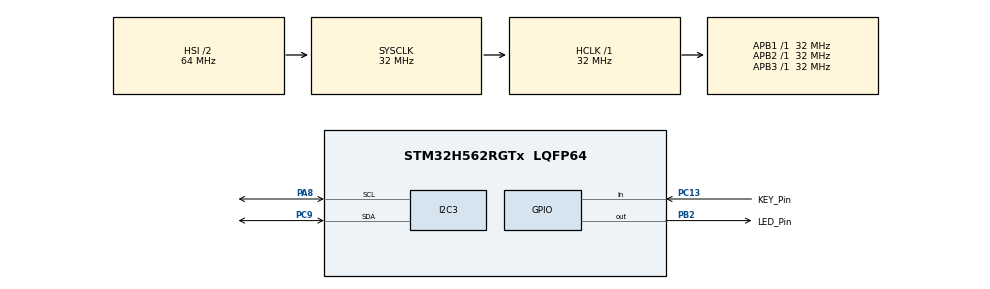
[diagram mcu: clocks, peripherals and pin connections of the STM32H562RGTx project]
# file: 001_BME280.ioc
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BOOTPATH.BootPathName=LEGACY
BOOTPATH.UserSelectedBootPath=LEGACY
CORTEX_M33_NS.userName=CORTEX_M33
I2C3.Timing=0x00707CBB
Mcu.Family=STM32H5
Mcu.Name=STM32H562RGTx
Mcu.Package=LQFP64
NVIC.I2C3_ER_IRQn=true\:0\:0\:false\:false\:true\:true\:true\:true
NVIC.I2C3_EV_IRQn=true\:0\:0\:false\:false\:true\:true\:true\:true
NVIC.PriorityGroup=NVIC_PRIORITYGROUP_4
PA8.Mode=I2C
PA8.Signal=I2C3_SCL
PB2.GPIO_Label=LED_Pin
PB2.Signal=GPIO_Output
PC13.GPIO_Label=KEY_Pin
PC13.Signal=GPIO_Input
PC8.GPIO_Label=SD_DETECT_Pin
PC8.Signal=SDMMC1_D0
PC9.Mode=I2C
PC9.Signal=I2C3_SDA
ProjectManager.HeapSize=0x200
ProjectManager.StackSize=0x400
ProjectManager.TargetToolchain=STM32CubeIDE
RCC.ADCFreq_Value=32000000
RCC.AHBFreq_Value=32000000
RCC.APB1Freq_Value=32000000
RCC.APB1TimFreq_Value=32000000
RCC.APB2Freq_Value=32000000
RCC.APB2TimFreq_Value=32000000
RCC.APB3Freq_Value=32000000
RCC.CSI_VALUE=4000000
RCC.CortexFreq_Value=32000000
RCC.EPOD_VALUE=4000000
RCC.HCLKFreq_Value=32000000
RCC.HSE_VALUE=25000000
RCC.HSI48_VALUE=48000000
RCC.HSI_VALUE=64000000
RCC.LSE_VALUE=32768
RCC.LSIRC_VALUE=32000
RCC.SYSCLKFreq_VALUE=32000000
RCC.USBFreq_Value=48000000
RCC.VCOOutputFreq_Value=516000000
TIM6.Prescaler=31
VP_BOOTPATH_VS_BOOTPATH.Mode=BP_Activate
VP_CORTEX_M33_NS_VS_Hclk.Mode=Hclk_Mode
VP_ICACHE_VS_ICACHE.Mode=DirectMappedCache
VP_MEMORYMAP_VS_MEMORYMAP.Mode=CurAppReg
VP_PWR_VS_LPOM.Mode=PowerOptimisation
VP_PWR_VS_SECSignals.Mode=Security/Privilege
VP_TIM6_VS_ClockSourceINT.Mode=Enable_Timer
board=custom

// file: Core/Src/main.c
/* USER CODE BEGIN Header */
/**
  ******************************************************************************
  * @file           : main.c
  * @brief          : Main program body
  ******************************************************************************
  * @attention
  *
  * Copyright (c) 2025 STMicroelectronics.
  * All rights reserved.
  *
  * This software is licensed under terms that can be found in the LICENSE file
  * in the root directory of this software component.
  * If no LICENSE file comes with this software, it is provided AS-IS.
  *
  ******************************************************************************
  */
/* USER CODE END Header */
#include "main.h"

/* USER CODE BEGIN Includes */
#include "bme280.h"
#include <stdio.h>
#include "bme280_stm32.h"
#include "lcd.h"
/* USER CODE END Includes */

I2C_HandleTypeDef hi2c3;

TIM_HandleTypeDef htim6;

/* USER CODE BEGIN PV */
LCD_HandleTypeDef hlcd;
HAL_StatusTypeDef status;
/* USER CODE END PV */

void SystemClock_Config(void);
static void MX_GPIO_Init(void);
static void MX_I2C3_Init(void);
static void MX_ICACHE_Init(void);
static void MX_TIM6_Init(void);

/* USER CODE BEGIN 0 */
struct bme280_dev dev;
struct bme280_data comp_data;
/* USER CODE END 0 */

int main(void)
{

  /* MCU Configuration--------------------------------------------------------*/

  /* Reset of all peripherals, Initializes the Flash interface and the Systick. */
  HAL_Init();

  /* Configure the system clock */
  SystemClock_Config();

  /* Initialize all configured peripherals */
  MX_GPIO_Init();
  MX_I2C3_Init();
  MX_ICACHE_Init();
  MX_TIM6_Init();
  /* USER CODE BEGIN 2 */
  // LCD init
  status = LCD_Init(&hlcd, &hi2c3);
  if(status != HAL_OK) {
	  Error_Handler();
  }
  HAL_Delay(100);

  LCD_SetRGB(&hlcd, 255, 0, 0);

  // Clear the display
  status = LCD_Clear(&hlcd);
  if(status != HAL_OK) {
	  Error_Handler();
  }
  HAL_Delay(10);

  // hello world first line
  status = LCD_SetCursor(&hlcd, 0, 0);
  if(status != HAL_OK) {
	  Error_Handler();
  }
  HAL_Delay(10);

  status = LCD_Print(&hlcd, "hola mundo");
  if(status != HAL_OK) {
	  Error_Handler();
  }
  HAL_Delay(10);

  // second line
  status = LCD_SetCursor(&hlcd, 0, 1);
  if(status != HAL_OK) {
	  Error_Handler();
  }
  HAL_Delay(10);

  status = LCD_Print(&hlcd, "weact-stm32h5");
  if(status != HAL_OK) {
	  Error_Handler();
  }

  int8_t rslt = bme280_init_sensor(&dev);

  if (rslt == BME280_OK)
  {
      printf("BME280 initialization successful!\r\n");
  }
  else
  {
      printf("BME280 initialization failed! Error code: %d\r\n", rslt);
      while(1);
  }
  /* USER CODE END 2 */

  /* Infinite loop */
  /* USER CODE BEGIN WHILE */
  char line2[16]; // 16 characters per line LCD
  char line1[16];
  while (1)
  {
	  rslt = bme280_read_sensor_data(&comp_data, &dev);

	  if (rslt == BME280_OK)
	  {
		  // Clear the display
		  status = LCD_Clear(&hlcd);
		  if(status != HAL_OK) {
			  Error_Handler();
		  }
		  HAL_Delay(10);

		  // First line - pressure
		  snprintf(line1, sizeof(line1), "press: %.1f", comp_data.pressure);

		  status = LCD_SetCursor(&hlcd, 0, 0);
		  if(status != HAL_OK) {
			  Error_Handler();
		  }
		  HAL_Delay(10);

		  status = LCD_Print(&hlcd, line1);
		  if(status != HAL_OK) {
			  Error_Handler();
		  }
		  HAL_Delay(10);

		  // Second line - temperature and humidity
		  snprintf(line2, sizeof(line2), "T:%.1fC H:%.1f%%",
		                 comp_data.temperature, comp_data.humidity);

		  status = LCD_SetCursor(&hlcd, 0, 1);
		  if(status != HAL_OK) {
			  Error_Handler();
		  }
		  HAL_Delay(10);

		  status = LCD_Print(&hlcd, line2);
		  if(status != HAL_OK) {
			  Error_Handler();
		  }
		  HAL_Delay(10);
	  }
	  else
	  {
		  printf("Failed to read sensor data! Error code: %d\r\n", rslt);
	  }

	  HAL_Delay(2000);
    /* USER CODE END WHILE */

  }
}

void SystemClock_Config(void)
{
  RCC_OscInitTypeDef RCC_OscInitStruct = {0};
  RCC_ClkInitTypeDef RCC_ClkInitStruct = {0};

  /** Configure the main internal regulator output voltage
  */
  __HAL_PWR_VOLTAGESCALING_CONFIG(PWR_REGULATOR_VOLTAGE_SCALE3);

  while(!__HAL_PWR_GET_FLAG(PWR_FLAG_VOSRDY)) {}

  /** Initializes the RCC Oscillators according to the specified parameters
  * in the RCC_OscInitTypeDef structure.
  */
  RCC_OscInitStruct.OscillatorType = RCC_OSCILLATORTYPE_HSI;
  RCC_OscInitStruct.HSIState = RCC_HSI_ON;
  RCC_OscInitStruct.HSIDiv = RCC_HSI_DIV2;
  RCC_OscInitStruct.HSICalibrationValue = RCC_HSICALIBRATION_DEFAULT;
  RCC_OscInitStruct.PLL.PLLState = RCC_PLL_NONE;
  if (HAL_RCC_OscConfig(&RCC_OscInitStruct) != HAL_OK)
  {
    Error_Handler();
  }

  /** Initializes the CPU, AHB and APB buses clocks
  */
  RCC_ClkInitStruct.ClockType = RCC_CLOCKTYPE_HCLK|RCC_CLOCKTYPE_SYSCLK
                              |RCC_CLOCKTYPE_PCLK1|RCC_CLOCKTYPE_PCLK2
                              |RCC_CLOCKTYPE_PCLK3;
  RCC_ClkInitStruct.SYSCLKSource = RCC_SYSCLKSOURCE_HSI;
  RCC_ClkInitStruct.AHBCLKDivider = RCC_SYSCLK_DIV1;
  RCC_ClkInitStruct.APB1CLKDivider = RCC_HCLK_DIV1;
  RCC_ClkInitStruct.APB2CLKDivider = RCC_HCLK_DIV1;
  RCC_ClkInitStruct.APB3CLKDivider = RCC_HCLK_DIV1;

  if (HAL_RCC_ClockConfig(&RCC_ClkInitStruct, FLASH_LATENCY_1) != HAL_OK)
  {
    Error_Handler();
  }

  /** Configure the programming delay
  */
  __HAL_FLASH_SET_PROGRAM_DELAY(FLASH_PROGRAMMING_DELAY_0);
}

static void MX_I2C3_Init(void)
{

  hi2c3.Instance = I2C3;
  hi2c3.Init.Timing = 0x00707CBB;
  hi2c3.Init.OwnAddress1 = 0;
  hi2c3.Init.AddressingMode = I2C_ADDRESSINGMODE_7BIT;
  hi2c3.Init.DualAddressMode = I2C_DUALADDRESS_DISABLE;
  hi2c3.Init.OwnAddress2 = 0;
  hi2c3.Init.OwnAddress2Masks = I2C_OA2_NOMASK;
  hi2c3.Init.GeneralCallMode = I2C_GENERALCALL_DISABLE;
  hi2c3.Init.NoStretchMode = I2C_NOSTRETCH_DISABLE;
  if (HAL_I2C_Init(&hi2c3) != HAL_OK)
  {
    Error_Handler();
  }

  /** Configure Analogue filter
  */
  if (HAL_I2CEx_ConfigAnalogFilter(&hi2c3, I2C_ANALOGFILTER_ENABLE) != HAL_OK)
  {
    Error_Handler();
  }

  /** Configure Digital filter
  */
  if (HAL_I2CEx_ConfigDigitalFilter(&hi2c3, 0) != HAL_OK)
  {
    Error_Handler();
  }

}

static void MX_ICACHE_Init(void)
{

  /** Enable instruction cache in 1-way (direct mapped cache)
  */
  if (HAL_ICACHE_ConfigAssociativityMode(ICACHE_1WAY) != HAL_OK)
  {
    Error_Handler();
  }
  if (HAL_ICACHE_Enable() != HAL_OK)
  {
    Error_Handler();
  }

}

static void MX_TIM6_Init(void)
{

  TIM_MasterConfigTypeDef sMasterConfig = {0};

  htim6.Instance = TIM6;
  htim6.Init.Prescaler = 31;
  htim6.Init.CounterMode = TIM_COUNTERMODE_UP;
  htim6.Init.Period = 65535;
  htim6.Init.AutoReloadPreload = TIM_AUTORELOAD_PRELOAD_DISABLE;
  if (HAL_TIM_Base_Init(&htim6) != HAL_OK)
  {
    Error_Handler();
  }
  sMasterConfig.MasterOutputTrigger = TIM_TRGO_RESET;
  sMasterConfig.MasterSlaveMode = TIM_MASTERSLAVEMODE_DISABLE;
  if (HAL_TIMEx_MasterConfigSynchronization(&htim6, &sMasterConfig) != HAL_OK)
  {
    Error_Handler();
  }

}

static void MX_GPIO_Init(void)
{
  GPIO_InitTypeDef GPIO_InitStruct = {0};

  /* GPIO Ports Clock Enable */
  __HAL_RCC_GPIOC_CLK_ENABLE();
  __HAL_RCC_GPIOB_CLK_ENABLE();
  __HAL_RCC_GPIOA_CLK_ENABLE();

  /*Configure GPIO pin Output Level */
  HAL_GPIO_WritePin(LED_Pin_GPIO_Port, LED_Pin_Pin, GPIO_PIN_RESET);

  /*Configure GPIO pin : KEY_Pin_Pin */
  GPIO_InitStruct.Pin = KEY_Pin_Pin;
  GPIO_InitStruct.Mode = GPIO_MODE_INPUT;
  GPIO_InitStruct.Pull = GPIO_NOPULL;
  HAL_GPIO_Init(KEY_Pin_GPIO_Port, &GPIO_InitStruct);

  /*Configure GPIO pin : LED_Pin_Pin */
  GPIO_InitStruct.Pin = LED_Pin_Pin;
  GPIO_InitStruct.Mode = GPIO_MODE_OUTPUT_PP;
  GPIO_InitStruct.Pull = GPIO_NOPULL;
  GPIO_InitStruct.Speed = GPIO_SPEED_FREQ_LOW;
  HAL_GPIO_Init(LED_Pin_GPIO_Port, &GPIO_InitStruct);

  /*Configure GPIO pin : SD_DETECT_Pin_Pin */
  GPIO_InitStruct.Pin = SD_DETECT_Pin_Pin;
  GPIO_InitStruct.Mode = GPIO_MODE_AF_PP;
  GPIO_InitStruct.Pull = GPIO_NOPULL;
  GPIO_InitStruct.Speed = GPIO_SPEED_FREQ_HIGH;
  GPIO_InitStruct.Alternate = GPIO_AF12_SDMMC1;
  HAL_GPIO_Init(SD_DETECT_Pin_GPIO_Port, &GPIO_InitStruct);

}

void Error_Handler(void)
{
  __disable_irq();
  while (1)
  {
  }
}
